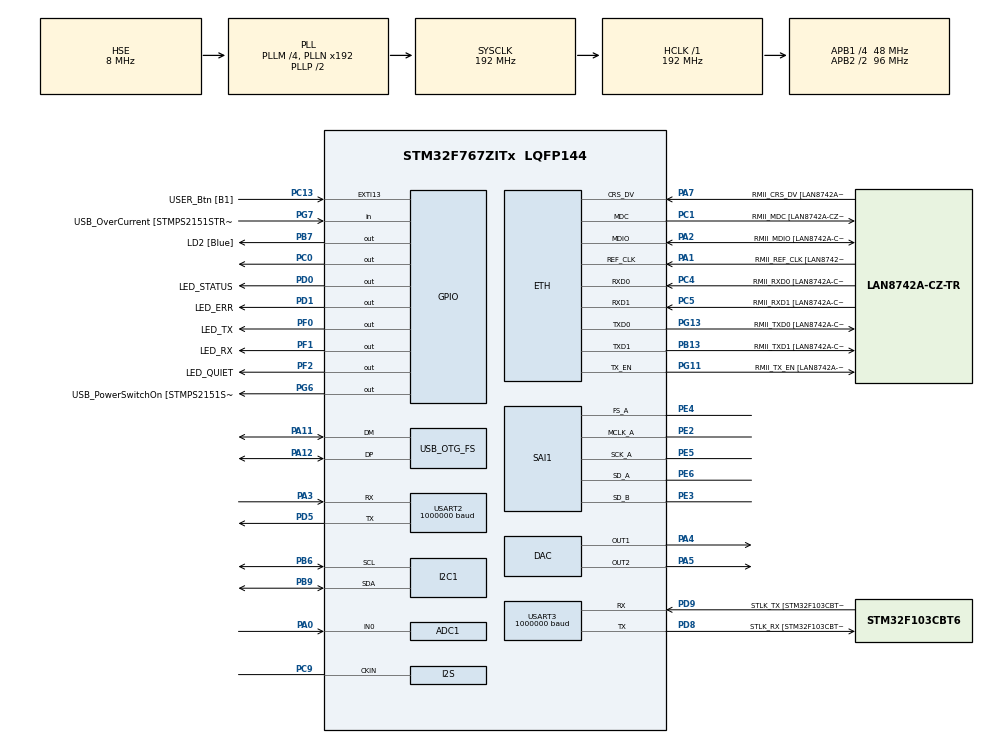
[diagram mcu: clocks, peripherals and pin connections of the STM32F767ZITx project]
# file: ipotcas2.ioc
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ADC1.Channel-0\#ChannelRegularConversion=ADC_CHANNEL_0
ADC1.ExternalTrigConv=ADC_EXTERNALTRIGCONV_T2_TRGO
ADC1.NbrOfConversionFlag=1
ADC1.Rank-0\#ChannelRegularConversion=1
ADC1.SamplingTime-0\#ChannelRegularConversion=ADC_SAMPLETIME_3CYCLES
ADC1.master=1
CORTEX_M7.ART_ACCELERATOR_ENABLE=1
CORTEX_M7.CPU_DCache=Enabled
CORTEX_M7.CPU_ICache=Enabled
CORTEX_M7.PREFETCH_ENABLE=1
CORTEX_M7.default_mode_Activation=0
DAC.DAC_Trigger=DAC_TRIGGER_T4_TRGO
Dma.ADC1.1.Direction=DMA_PERIPH_TO_MEMORY
Dma.ADC1.1.FIFOMode=DMA_FIFOMODE_DISABLE
Dma.ADC1.1.Instance=DMA2_Stream0
Dma.ADC1.1.MemDataAlignment=DMA_MDATAALIGN_HALFWORD
Dma.ADC1.1.MemInc=DMA_MINC_ENABLE
Dma.ADC1.1.Mode=DMA_CIRCULAR
Dma.ADC1.1.PeriphDataAlignment=DMA_PDATAALIGN_HALFWORD
Dma.ADC1.1.PeriphInc=DMA_PINC_DISABLE
Dma.ADC1.1.Priority=DMA_PRIORITY_LOW
Dma.DAC1.2.Direction=DMA_MEMORY_TO_PERIPH
Dma.DAC1.2.FIFOMode=DMA_FIFOMODE_ENABLE
Dma.DAC1.2.FIFOThreshold=DMA_FIFO_THRESHOLD_FULL
Dma.DAC1.2.Instance=DMA1_Stream5
Dma.DAC1.2.MemBurst=DMA_MBURST_SINGLE
Dma.DAC1.2.MemDataAlignment=DMA_MDATAALIGN_HALFWORD
Dma.DAC1.2.MemInc=DMA_MINC_ENABLE
Dma.DAC1.2.Mode=DMA_CIRCULAR
Dma.DAC1.2.PeriphBurst=DMA_PBURST_SINGLE
Dma.DAC1.2.PeriphDataAlignment=DMA_PDATAALIGN_HALFWORD
Dma.DAC1.2.PeriphInc=DMA_PINC_DISABLE
Dma.DAC1.2.Priority=DMA_PRIORITY_LOW
Dma.Request0=USART2_TX
Dma.Request1=ADC1
Dma.Request2=DAC1
Dma.Request3=SAI1_A
Dma.Request4=USART3_RX
Dma.SAI1_A.3.Direction=DMA_MEMORY_TO_PERIPH
Dma.SAI1_A.3.FIFOMode=DMA_FIFOMODE_DISABLE
Dma.SAI1_A.3.Instance=DMA2_Stream1
Dma.SAI1_A.3.MemDataAlignment=DMA_MDATAALIGN_HALFWORD
Dma.SAI1_A.3.MemInc=DMA_MINC_ENABLE
Dma.SAI1_A.3.Mode=DMA_CIRCULAR
Dma.SAI1_A.3.PeriphDataAlignment=DMA_PDATAALIGN_HALFWORD
Dma.SAI1_A.3.PeriphInc=DMA_PINC_DISABLE
Dma.SAI1_A.3.Priority=DMA_PRIORITY_LOW
Dma.USART2_TX.0.Direction=DMA_MEMORY_TO_PERIPH
Dma.USART2_TX.0.FIFOMode=DMA_FIFOMODE_DISABLE
Dma.USART2_TX.0.Instance=DMA1_Stream6
Dma.USART2_TX.0.MemDataAlignment=DMA_MDATAALIGN_BYTE
Dma.USART2_TX.0.MemInc=DMA_MINC_ENABLE
Dma.USART2_TX.0.Mode=DMA_NORMAL
Dma.USART2_TX.0.PeriphDataAlignment=DMA_PDATAALIGN_BYTE
Dma.USART2_TX.0.PeriphInc=DMA_PINC_DISABLE
Dma.USART2_TX.0.Priority=DMA_PRIORITY_LOW
Dma.USART3_RX.4.Direction=DMA_PERIPH_TO_MEMORY
Dma.USART3_RX.4.FIFOMode=DMA_FIFOMODE_DISABLE
Dma.USART3_RX.4.Instance=DMA1_Stream1
Dma.USART3_RX.4.MemDataAlignment=DMA_MDATAALIGN_BYTE
Dma.USART3_RX.4.MemInc=DMA_MINC_ENABLE
Dma.USART3_RX.4.Mode=DMA_CIRCULAR
Dma.USART3_RX.4.PeriphDataAlignment=DMA_PDATAALIGN_BYTE
Dma.USART3_RX.4.PeriphInc=DMA_PINC_DISABLE
Dma.USART3_RX.4.Priority=DMA_PRIORITY_LOW
ETH.MediaInterface=HAL_ETH_RMII_MODE
I2C1.Timing=0x20303E5D
Mcu.Family=STM32F7
Mcu.Name=STM32F767ZITx
Mcu.Package=LQFP144
NVIC.ADC_IRQn=true\:0\:0\:false\:false\:true\:true\:true\:true
NVIC.DMA1_Stream1_IRQn=true\:0\:0\:false\:false\:true\:false\:true\:true
NVIC.DMA1_Stream5_IRQn=true\:0\:0\:false\:false\:true\:false\:true\:true
NVIC.DMA1_Stream6_IRQn=true\:0\:0\:false\:false\:true\:false\:true\:true
NVIC.DMA2_Stream0_IRQn=true\:0\:0\:false\:false\:true\:false\:true\:true
NVIC.DMA2_Stream1_IRQn=true\:0\:0\:false\:false\:true\:false\:true\:true
NVIC.ETH_IRQn=true\:0\:0\:false\:false\:true\:true\:true\:true
NVIC.OTG_FS_IRQn=true\:0\:0\:false\:false\:true\:true\:true\:true
NVIC.PriorityGroup=NVIC_PRIORITYGROUP_4
NVIC.SAI1_IRQn=true\:0\:0\:false\:false\:true\:true\:true\:true
NVIC.TIM3_IRQn=true\:0\:0\:false\:false\:true\:true\:true\:true
NVIC.USART2_IRQn=true\:0\:0\:false\:false\:true\:true\:true\:true
NVIC.USART3_IRQn=true\:0\:0\:false\:false\:true\:true\:true\:true
PA0/WKUP.Signal=ADCx_IN0
PA1.GPIO_Label=RMII_REF_CLK [LAN8742A-CZ-TR_REFCLK0]
PA1.Mode=RMII
PA1.Signal=ETH_REF_CLK
PA10.GPIO_Label=USB_ID
PA10.Signal=USB_OTG_FS_ID
PA11.GPIO_Mode=GPIO_MODE_AF_PP
PA11.GPIO_PuPd=GPIO_NOPULL
PA11.GPIO_Speed=GPIO_SPEED_FREQ_VERY_HIGH
PA11.Mode=Device_Only
PA11.Signal=USB_OTG_FS_DM
PA12.GPIO_Mode=GPIO_MODE_AF_PP
PA12.GPIO_PuPd=GPIO_NOPULL
PA12.GPIO_Speed=GPIO_SPEED_FREQ_VERY_HIGH
PA12.Mode=Device_Only
PA12.Signal=USB_OTG_FS_DP
PA13.GPIO_Label=TMS
PA13.Mode=Serial_Wire
PA13.Signal=SYS_JTMS-SWDIO
PA14.GPIO_Label=TCK
PA14.Mode=Serial_Wire
PA14.Signal=SYS_JTCK-SWCLK
PA2.GPIO_Label=RMII_MDIO [LAN8742A-CZ-TR_MDIO]
PA2.Mode=RMII
PA2.Signal=ETH_MDIO
PA3.Mode=Asynchronous
PA3.Signal=USART2_RX
PA4.Signal=COMP_DAC1_group
PA5.Signal=COMP_DAC2_group
PA7.GPIO_Label=RMII_CRS_DV [LAN8742A-CZ-TR_CRS_DV]
PA7.Mode=RMII
PA7.Signal=ETH_CRS_DV
PA8.GPIO_Label=USB_SOF [TP1]
PA8.Signal=USB_OTG_FS_SOF
PA9.GPIO_Label=USB_VBUS
PA9.Signal=USB_OTG_FS_VBUS
PB13.GPIO_Label=RMII_TXD1 [LAN8742A-CZ-TR_TXD1]
PB13.Mode=RMII
PB13.Signal=ETH_TXD1
PB3.GPIO_Label=SWO
PB3.Signal=SYS_JTDO-SWO
PB6.Mode=I2C
PB6.Signal=I2C1_SCL
PB7.GPIO_Label=LD2 [Blue]
PB7.Signal=GPIO_Output
PB9.Mode=I2C
PB9.Signal=I2C1_SDA
PC0.Signal=GPIO_Output
PC1.GPIO_Label=RMII_MDC [LAN8742A-CZ-TR_MDC]
PC1.Mode=RMII
PC1.Signal=ETH_MDC
PC13.GPIO_Label=USER_Btn [B1]
PC13.Signal=GPXTI13
PC14/OSC32_IN.Mode=LSE-External-Oscillator
PC14/OSC32_IN.Signal=RCC_OSC32_IN
PC15/OSC32_OUT.Mode=LSE-External-Oscillator
PC15/OSC32_OUT.Signal=RCC_OSC32_OUT
PC4.GPIO_Label=RMII_RXD0 [LAN8742A-CZ-TR_RXD0]
PC4.Mode=RMII
PC4.Signal=ETH_RXD0
PC5.GPIO_Label=RMII_RXD1 [LAN8742A-CZ-TR_RXD1]
PC5.Mode=RMII
PC5.Signal=ETH_RXD1
PC9.Mode=Audio_ClockIn
PC9.Signal=I2S_CKIN
PD0.GPIO_Label=LED_STATUS
PD0.Signal=GPIO_Output
PD1.GPIO_Label=LED_ERR
PD1.Signal=GPIO_Output
PD5.Mode=Asynchronous
PD5.Signal=USART2_TX
PD8.GPIO_Label=STLK_RX [STM32F103CBT6_PA3]
PD8.Mode=Asynchronous
PD8.Signal=USART3_TX
PD9.GPIO_Label=STLK_TX [STM32F103CBT6_PA2]
PD9.Mode=Asynchronous
PD9.Signal=USART3_RX
PE2.Mode=SAI_A_MasterWithClock
PE2.Signal=SAI1_MCLK_A
PE3.Mode=SAI_B_SyncSlave
PE3.Signal=SAI1_SD_B
PE4.Mode=SAI_A_MasterWithClock
PE4.Signal=SAI1_FS_A
PE5.Mode=SAI_A_MasterWithClock
PE5.Signal=SAI1_SCK_A
PE6.Mode=SAI_A_MasterWithClock
PE6.Signal=SAI1_SD_A
PF0.GPIO_Label=LED_TX
PF0.Signal=GPIO_Output
PF1.GPIO_Label=LED_RX
PF1.Signal=GPIO_Output
PF2.GPIO_Label=LED_QUIET
PF2.Signal=GPIO_Output
PG11.GPIO_Label=RMII_TX_EN [LAN8742A-CZ-TR_TXEN]
PG11.Mode=RMII
PG11.Signal=ETH_TX_EN
PG13.GPIO_Label=RMII_TXD0 [LAN8742A-CZ-TR_TXD0]
PG13.Mode=RMII
PG13.Signal=ETH_TXD0
PG6.GPIO_Label=USB_PowerSwitchOn [STMPS2151STR_EN]
PG6.Signal=GPIO_Output
PG7.GPIO_Label=USB_OverCurrent [STMPS2151STR_FAULT]
PG7.Signal=GPIO_Input
PH0/OSC_IN.GPIO_Label=MCO [STM32F103CBT6_PA8]
PH0/OSC_IN.Mode=HSE-External-Clock-Source
PH0/OSC_IN.Signal=RCC_OSC_IN
PH1/OSC_OUT.Mode=HSE-External-Clock-Source
PH1/OSC_OUT.Signal=RCC_OSC_OUT
ProjectManager.HeapSize=0x2000
ProjectManager.StackSize=0x400
ProjectManager.TargetToolchain=CMake
RCC.48MHZClocksFreq_Value=24000000
RCC.AHBFreq_Value=192000000
RCC.APB1CLKDivider=RCC_HCLK_DIV4
RCC.APB1Freq_Value=48000000
RCC.APB1TimFreq_Value=96000000
RCC.APB2CLKDivider=RCC_HCLK_DIV2
RCC.APB2Freq_Value=96000000
RCC.APB2TimFreq_Value=192000000
RCC.CortexFreq_Value=192000000
RCC.HCLKFreq_Value=192000000
RCC.HSE_VALUE=8000000
RCC.HSI_VALUE=16000000
RCC.PLLM=4
RCC.PLLMUL=RCC_PLL_MUL9
RCC.PLLQ=8
RCC.PLLSAIQ=6
RCC.PRESCALERUSB=RCC_USBCLKSOURCE_PLL_DIV1_5
RCC.SAI1CLockSelection=RCC_SAI1CLKSOURCE_PIN
RCC.SYSCLKFreq_VALUE=192000000
RCC.SYSCLKSource=RCC_SYSCLKSOURCE_PLLCLK
RCC.SYSCLKSourceVirtual=RCC_SYSCLKSOURCE_PLLCLK
RCC.USBFreq_Value=48000000
RCC.VCOOutputFreq_Value=384000000
SAI1.AudioFrequency-SAI_A_MasterWithClock=SAI_AUDIO_FREQUENCY_48K
SAI1.ErrorAudioFreq-SAI_A_MasterWithClock=0.0 %
SAI1.InitProtocol-SAI_A_MasterWithClock=Enable
SAI1.InitProtocol-SAI_B_SyncSlave=Enable
SAI1.Instance-SAI_A_MasterWithClock=SAI$Index_Block_A
SAI1.Instance-SAI_B_SyncSlave=SAI$Index_Block_B
SAI1.MClockEnable-SAI_A_MasterWithClock=SAI_MASTERCLOCK_ENABLE
SAI1.RealAudioFreq-SAI_A_MasterWithClock=48.0 KHz
SAI1.VirtualMode-SAI_A_MasterWithClock=VM_MASTER
SAI1.VirtualMode-SAI_B_SyncSlave=VM_SLAVE
SAI1.VirtualProtocol-SAI_A_BASIC=VM_BASIC_PROTOCOL
SAI1.VirtualProtocol-SAI_B_BASIC=VM_BASIC_PROTOCOL
SH.ADCx_IN0.0=ADC1_IN0,IN0
SH.COMP_DAC1_group.0=DAC_OUT1,DAC_OUT1
SH.COMP_DAC2_group.0=DAC_OUT2,DAC_OUT2
TIM2.Channel-PWM\ Generation1\ No\ Output=TIM_CHANNEL_1
TIM2.Period=2999
TIM2.TIM_MasterOutputTrigger=TIM_TRGO_UPDATE
TIM3.Period=65535
TIM3.Prescaler=95
TIM4.Period=959
TIM4.TIM_MasterOutputTrigger=TIM_TRGO_UPDATE
USART2.BaudRate=1000000
USART2.VirtualMode-Asynchronous=VM_ASYNC
USART3.BaudRate=1000000
USART3.VirtualMode-Asynchronous=VM_ASYNC
USB_OTG_FS.VirtualMode=Device_Only
VP_SAI1_VP_$IpInstance_SAIA_SAI_BASIC.Mode=SAI_A_BASIC
VP_SAI1_VP_$IpInstance_SAIB_SAI_BASIC.Mode=SAI_B_BASIC
VP_TIM2_VS_ClockSourceINT.Mode=Internal
VP_TIM2_VS_no_output1.Mode=PWM Generation1 No Output
VP_TIM3_VS_ClockSourceINT.Mode=Internal
VP_TIM4_VS_ClockSourceINT.Mode=Internal
board=NUCLEO-F767ZI

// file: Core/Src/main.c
/* USER CODE BEGIN Header */
/**
  ******************************************************************************
  * @file           : main.c
  * @brief          : Main program body
  ******************************************************************************
  * @attention
  *
  * Copyright (c) 2025 STMicroelectronics.
  * All rights reserved.
  *
  * This software is licensed under terms that can be found in the LICENSE file
  * in the root directory of this software component.
  * If no LICENSE file comes with this software, it is provided AS-IS.
  *
  ******************************************************************************
  */
/* USER CODE END Header */
#include "main.h"
#include "stm32f7xx_hal_uart.h"
#include "string.h"

/* USER CODE BEGIN Includes */
#include "tusb.h"
#include "transmit.h"
#include "receive.h"
#include "modulation.h"
#include "codec.h"
#include "ethernet.h"
#include <stdio.h>
/* USER CODE END Includes */

/* USER CODE BEGIN PD */

const char TEST_DATA[] =
    "Somebody once told me the world is gonna roll me / "
    "I ain't the sharpest tool in the shed / ";

#if 0
const char TEST_DATA[] =
    "Somebody once told me the world is gonna roll me / "
    "I ain't the sharpest tool in the shed / "
    "She was looking kind of dumb with her finger and her thumb / "
    "In the shape of an \"L\" on her forehead / "
    "Well, the years start comin' and they don't stop comin' / "
    "Fed to the rules and I hit the ground runnin' / "
    "Didn't make sense not to live for fun / "
    "Your brain gets smart but your head gets dumb / "
    "So much to do, so much to see / "
    "So what's wrong with taking the backstreets? / "
    "You'll never know if you don't go / "
    "You'll never shine if you don't glow / "
    "Hey now, you're an all star / "
    "Get your game on, go play / "
    "Hey now, you're a rock star / "
    "Get your show on, get paid / "
    "(And all that glitters is gold) / "
    "Only shootin' stars break the mold / "
    "It's a cool place, and they say it gets colder / "
    "You're bundled up now, wait 'til you get older / "
    "But the meteor men beg to differ / "
    "Judging by the hole in the satellite picture / "
    "The ice we skate is gettin' pretty thin / "
    "The waters gettin' warm so you might as well swim / "
    "My world's on fire, how 'bout yours? / "
    "That's the way I like it and I'll never get bored / "
    "Hey now, you're an all star / "
    "Get your game on, go play / "
    "Hey now, you're a rock star / "
    "Get your show on, get paid / "
    "(All that glitters is gold) / "
    "Only shootin' stars break the mold / "
    "Go for the moon / "
    "G-g-g-go for the moon / "
    "Go for the moon / "
    "Go-go-go for the moon / "
    "Hey now, you're an all star / "
    "Get your game on, go play / "
    "Hey now, you're a rock star / "
    "Get your show on, get paid / "
    "(All that glitters is gold)";
  #endif

/* USER CODE END PD */

#if defined ( __ICCARM__ ) /*!< IAR Compiler */
#pragma location=0x2007c000
ETH_DMADescTypeDef  DMARxDscrTab[ETH_RX_DESC_CNT]; /* Ethernet Rx DMA Descriptors */
#pragma location=0x2007c0a0
ETH_DMADescTypeDef  DMATxDscrTab[ETH_TX_DESC_CNT]; /* Ethernet Tx DMA Descriptors */

#elif defined ( __CC_ARM )  /* MDK ARM Compiler */

__attribute__((at(0x2007c000))) ETH_DMADescTypeDef  DMARxDscrTab[ETH_RX_DESC_CNT]; /* Ethernet Rx DMA Descriptors */
__attribute__((at(0x2007c0a0))) ETH_DMADescTypeDef  DMATxDscrTab[ETH_TX_DESC_CNT]; /* Ethernet Tx DMA Descriptors */

#elif defined ( __GNUC__ ) /* GNU Compiler */

ETH_DMADescTypeDef DMARxDscrTab[ETH_RX_DESC_CNT] __attribute__((section(".RxDecripSection"))); /* Ethernet Rx DMA Descriptors */
ETH_DMADescTypeDef DMATxDscrTab[ETH_TX_DESC_CNT] __attribute__((section(".TxDecripSection")));   /* Ethernet Tx DMA Descriptors */
#endif

ETH_TxPacketConfig TxConfig;

ADC_HandleTypeDef hadc1;
DMA_HandleTypeDef hdma_adc1;

DAC_HandleTypeDef hdac;
DMA_HandleTypeDef hdma_dac1;

ETH_HandleTypeDef heth;

I2C_HandleTypeDef hi2c1;

SAI_HandleTypeDef hsai_BlockA1;
SAI_HandleTypeDef hsai_BlockB1;
DMA_HandleTypeDef hdma_sai1_a;

TIM_HandleTypeDef htim2;
TIM_HandleTypeDef htim3;
TIM_HandleTypeDef htim4;

UART_HandleTypeDef huart2;
UART_HandleTypeDef huart3;
DMA_HandleTypeDef hdma_usart2_tx;
DMA_HandleTypeDef hdma_usart3_rx;

PCD_HandleTypeDef hpcd_USB_OTG_FS;

/* USER CODE BEGIN PV */

uint8_t raw_uart_buf[288];

/* USER CODE END PV */

void SystemClock_Config(void);
static void MX_GPIO_Init(void);
static void MX_DMA_Init(void);
static void MX_ETH_Init(void);
static void MX_USART3_UART_Init(void);
static void MX_ADC1_Init(void);
static void MX_DAC_Init(void);
static void MX_TIM2_Init(void);
static void MX_USB_OTG_FS_PCD_Init(void);
static void MX_TIM3_Init(void);
static void MX_USART2_UART_Init(void);
static void MX_TIM4_Init(void);
static void MX_I2C1_Init(void);
static void MX_SAI1_Init(void);

/* USER CODE BEGIN 0 */
int _write(int fd, const char *ptr, int len) {
  HAL_StatusTypeDef hstatus;
  if (fd == 1 || fd == 2) {
    hstatus = HAL_UART_Transmit(&huart3, (const uint8_t *)ptr, len, HAL_MAX_DELAY);
    if (hstatus == HAL_OK) {
      return len;
    } else {
      return -1;
    }
  }
  return -1;
}

int hamming_corrections = 0;

uint16_t adc_val;

/* USER CODE END 0 */

int main(void)
{

  /* Enable the CPU Cache */

  /* Enable I-Cache---------------------------------------------------------*/
  SCB_EnableICache();

  /* Enable D-Cache---------------------------------------------------------*/
  SCB_EnableDCache();

  /* MCU Configuration--------------------------------------------------------*/

  /* Reset of all peripherals, Initializes the Flash interface and the Systick. */
  HAL_Init();

  /* Configure the system clock */
  SystemClock_Config();

  /* Initialize all configured peripherals */
  MX_GPIO_Init();
  MX_DMA_Init();
  MX_ETH_Init();
  MX_USART3_UART_Init();
  MX_ADC1_Init();
  MX_DAC_Init();
  MX_TIM2_Init();
  MX_USB_OTG_FS_PCD_Init();
  MX_TIM3_Init();
  MX_USART2_UART_Init();
  MX_TIM4_Init();
  MX_I2C1_Init();
  MX_SAI1_Init();
  /* USER CODE BEGIN 2 */

  // FIXME: Can't configure this in stm32cubemx for some reason?
  // Refilling the tx buffer is a very long process but not very latency-sensitive
  // so it gets a lower priority to allow the ADC interrupt to preempt it
  HAL_NVIC_SetPriority(DMA1_Stream5_IRQn, 2, 0);
  HAL_NVIC_SetPriority(DMA2_Stream1_IRQn, 2, 0);
  /* USER CODE END 2 */

  /* Infinite loop */
  /* USER CODE BEGIN WHILE */
  /*if(HAL_ADCEx_Calibration_Start(&hadc1, ADC_CALIB_OFFSET, ADC_SINGLE_ENDED) != HAL_OK) {
    Error_Handler();
  }*/

  printf("Hello, world!\n");

  codec_init();

  if (HAL_ADC_Start(&hadc1) != HAL_OK) {
    Error_Handler();
  }

  if (HAL_TIM_PWM_Start(&htim2, TIM_CHANNEL_1) != HAL_OK) {
    Error_Handler();
  }

  if (HAL_TIM_Base_Start_IT(&htim3) != HAL_OK) {
    Error_Handler();
  }

  if (HAL_TIM_Base_Start(&htim4) != HAL_OK) {
    Error_Handler();
  }

  tusb_init();

  int tx_ok = transmit_init(&hdac);
  if (tx_ok != HAL_OK) {
    printf("transmit init failed %d\n", tx_ok);
    Error_Handler();
  }

  extern uint64_t micros(void);

  // here so that it can actually print things
  for (int i = 0; i < 2; ++i) {
    if (ethernet_init()) {
      printf("ETHERNET OK\n");
      break;
    }
    printf("ETHERNET FAILED\n");
  }

  printf("filt %lx\n", heth.Instance->MACFFR);
  printf("eth %lx\n", heth.Instance->DMASR);

  // turn off all filtering (!!)
  //heth.Instance->MACFFR |= (1 << 31);
  // turn on promiscuous mode (no MAC addr filter)
  heth.Instance->MACFFR |= ETH_MACFFR_PM;

  //printf("filt after %lx\n", heth.Instance->MACFFR);

  #if 0
  uint32_t last = -1;
  uint32_t last2 = -1;
  uint32_t last3 = -1;
  while (1) {
    uint32_t num_rx = heth.Instance->MMCRGUFCR;
    if (num_rx != last) {
      printf("Num received %lu\n", num_rx);
      last = num_rx;
    }
    uint32_t dbg = heth.Instance->MACDBGR;
    if (dbg != last2) {
      printf("DBG: %lu\n", dbg);
      last2 = dbg;
    }
    uint32_t t = micros() / 1000000;
    if (t != last3) {
      last3 = t;
      printf("hewo %ld\n", t);
      ethernet_send_packet();
    }
  }
  #endif

  int rx_ok = receive_init();
  if (rx_ok != HAL_OK) {
    printf("receive init failed %d\n", rx_ok);
    Error_Handler();
  }

#if TX_RAW_STREAM
  int uart_ok = HAL_UART_Receive_DMA(&huart3, raw_uart_buf, sizeof(raw_uart_buf));
  if (uart_ok != HAL_OK) {
    printf("UART rx start failed %d\n", uart_ok);
    Error_Handler();
  }
#endif

  int s = 0;
  int calls = 0;
  int st = micros() / 1000000;
  int total_bytes = 0;
  uint64_t count_start = 0;
  while (1)
  {
    /* USER CODE END WHILE */

    /* USER CODE BEGIN 3 */
    int s2 = micros() / 1000000;
    /*if (!ethernet_ok && s != s2) {
      s = s2;
      ethernet_ok = ethernet_init();
      // turn off all filtering (!!)
      heth.Instance->MACFFR |= (1 << 31);
      printf("hewo\n");
    }*/

#if TX_RAW_STREAM
    if (need_new_raw_samples()) {
      printf("S\n");
    }
#endif

    if (s != s2) {
      s = s2;
      if (s2 != st) { printf("hewo %d %d %d %d\n", calls / (s2 - st), heth.Instance->MMCRGUFCR, hamming_corrections, huart3.RxState); }
    }

#if TX_RAW_STREAM
    tud_task();

#if 0
    if (tud_cdc_available() >= 64) {
      tud_cdc_read(sample_buf+sample_buf_idx, 64);
      sample_buf_idx += 64;
      total_bytes += 64;
    }

    if (sample_buf_idx == 384) {
      submit_raw_stream((int16_t *)sample_buf);
      sample_buf_idx = 0;
    }
#else

#endif
#else
    tud_task();

    static bool prev_btn_state = false;
    bool btn_state = HAL_GPIO_ReadPin(USER_Btn_GPIO_Port, USER_Btn_Pin);
    if (btn_state && !prev_btn_state && transmit_ready(sizeof(TEST_DATA))) {
      transmit_send(NULL, TEST_DATA, sizeof(TEST_DATA));
    }

    transmit_task(&hdac);
#endif

    receive_task();
    //ethernet_task();

    ++calls;
  }
  /* USER CODE END 3 */
}

void SystemClock_Config(void)
{
  RCC_OscInitTypeDef RCC_OscInitStruct = {0};
  RCC_ClkInitTypeDef RCC_ClkInitStruct = {0};

  /** Configure LSE Drive Capability
  */
  HAL_PWR_EnableBkUpAccess();

  /** Configure the main internal regulator output voltage
  */
  __HAL_RCC_PWR_CLK_ENABLE();
  __HAL_PWR_VOLTAGESCALING_CONFIG(PWR_REGULATOR_VOLTAGE_SCALE1);

  /** Initializes the RCC Oscillators according to the specified parameters
  * in the RCC_OscInitTypeDef structure.
  */
  RCC_OscInitStruct.OscillatorType = RCC_OSCILLATORTYPE_HSE;
  RCC_OscInitStruct.HSEState = RCC_HSE_BYPASS;
  RCC_OscInitStruct.PLL.PLLState = RCC_PLL_ON;
  RCC_OscInitStruct.PLL.PLLSource = RCC_PLLSOURCE_HSE;
  RCC_OscInitStruct.PLL.PLLM = 4;
  RCC_OscInitStruct.PLL.PLLN = 192;
  RCC_OscInitStruct.PLL.PLLP = RCC_PLLP_DIV2;
  RCC_OscInitStruct.PLL.PLLQ = 8;
  RCC_OscInitStruct.PLL.PLLR = 2;
  if (HAL_RCC_OscConfig(&RCC_OscInitStruct) != HAL_OK)
  {
    Error_Handler();
  }

  /** Activate the Over-Drive mode
  */
  if (HAL_PWREx_EnableOverDrive() != HAL_OK)
  {
    Error_Handler();
  }

  /** Initializes the CPU, AHB and APB buses clocks
  */
  RCC_ClkInitStruct.ClockType = RCC_CLOCKTYPE_HCLK|RCC_CLOCKTYPE_SYSCLK
                              |RCC_CLOCKTYPE_PCLK1|RCC_CLOCKTYPE_PCLK2;
  RCC_ClkInitStruct.SYSCLKSource = RCC_SYSCLKSOURCE_PLLCLK;
  RCC_ClkInitStruct.AHBCLKDivider = RCC_SYSCLK_DIV1;
  RCC_ClkInitStruct.APB1CLKDivider = RCC_HCLK_DIV4;
  RCC_ClkInitStruct.APB2CLKDivider = RCC_HCLK_DIV2;

  if (HAL_RCC_ClockConfig(&RCC_ClkInitStruct, FLASH_LATENCY_6) != HAL_OK)
  {
    Error_Handler();
  }
}

static void MX_ADC1_Init(void)
{

  ADC_ChannelConfTypeDef sConfig = {0};

  /** Configure the global features of the ADC (Clock, Resolution, Data Alignment and number of conversion)
  */
  hadc1.Instance = ADC1;
  hadc1.Init.ClockPrescaler = ADC_CLOCK_SYNC_PCLK_DIV4;
  hadc1.Init.Resolution = ADC_RESOLUTION_12B;
  hadc1.Init.ScanConvMode = ADC_SCAN_DISABLE;
  hadc1.Init.ContinuousConvMode = DISABLE;
  hadc1.Init.DiscontinuousConvMode = DISABLE;
  hadc1.Init.ExternalTrigConvEdge = ADC_EXTERNALTRIGCONVEDGE_RISING;
  hadc1.Init.ExternalTrigConv = ADC_EXTERNALTRIGCONV_T2_TRGO;
  hadc1.Init.DataAlign = ADC_DATAALIGN_RIGHT;
  hadc1.Init.NbrOfConversion = 1;
  hadc1.Init.DMAContinuousRequests = DISABLE;
  hadc1.Init.EOCSelection = ADC_EOC_SINGLE_CONV;
  if (HAL_ADC_Init(&hadc1) != HAL_OK)
  {
    Error_Handler();
  }

  /** Configure for the selected ADC regular channel its corresponding rank in the sequencer and its sample time.
  */
  sConfig.Channel = ADC_CHANNEL_0;
  sConfig.Rank = ADC_REGULAR_RANK_1;
  sConfig.SamplingTime = ADC_SAMPLETIME_3CYCLES;
  if (HAL_ADC_ConfigChannel(&hadc1, &sConfig) != HAL_OK)
  {
    Error_Handler();
  }

}

static void MX_DAC_Init(void)
{

  DAC_ChannelConfTypeDef sConfig = {0};

  /** DAC Initialization
  */
  hdac.Instance = DAC;
  if (HAL_DAC_Init(&hdac) != HAL_OK)
  {
    Error_Handler();
  }

  /** DAC channel OUT1 config
  */
  sConfig.DAC_Trigger = DAC_TRIGGER_T4_TRGO;
  sConfig.DAC_OutputBuffer = DAC_OUTPUTBUFFER_ENABLE;
  if (HAL_DAC_ConfigChannel(&hdac, &sConfig, DAC_CHANNEL_1) != HAL_OK)
  {
    Error_Handler();
  }

  /** DAC channel OUT2 config
  */
  sConfig.DAC_Trigger = DAC_TRIGGER_NONE;
  if (HAL_DAC_ConfigChannel(&hdac, &sConfig, DAC_CHANNEL_2) != HAL_OK)
  {
    Error_Handler();
  }
  /* USER CODE BEGIN DAC_Init 2 */
  HAL_DAC_Start(&hdac, DAC_CHANNEL_1);
  HAL_DAC_Start(&hdac, DAC_CHANNEL_2);

  /* USER CODE END DAC_Init 2 */

}

static void MX_ETH_Init(void)
{

   static uint8_t MACAddr[6];

  heth.Instance = ETH;
  MACAddr[0] = 0x00;
  MACAddr[1] = 0x80;
  MACAddr[2] = 0xE1;
  MACAddr[3] = 0x00;
  MACAddr[4] = 0x00;
  MACAddr[5] = 0x00;
  heth.Init.MACAddr = &MACAddr[0];
  heth.Init.MediaInterface = HAL_ETH_RMII_MODE;
  heth.Init.TxDesc = DMATxDscrTab;
  heth.Init.RxDesc = DMARxDscrTab;
  heth.Init.RxBuffLen = 1524;

  if (HAL_ETH_Init(&heth) != HAL_OK)
  {
    Error_Handler();
  }

  memset(&TxConfig, 0 , sizeof(ETH_TxPacketConfig));
  TxConfig.Attributes = ETH_TX_PACKETS_FEATURES_CSUM | ETH_TX_PACKETS_FEATURES_CRCPAD;
  TxConfig.ChecksumCtrl = ETH_CHECKSUM_IPHDR_PAYLOAD_INSERT_PHDR_CALC;
  TxConfig.CRCPadCtrl = ETH_CRC_PAD_INSERT;
  /* USER CODE BEGIN ETH_Init 2 */
  //TxConfig.ChecksumCtrl = ETH_CHECKSUM_IPHDR_PAYLOAD_INSERT_PHDR_CALC;
  // hardware checksums don't work and break all network traffic??
  // (as per https://github.com/zephyrproject-rtos/zephyr/issues/57629 )
  TxConfig.ChecksumCtrl = ETH_CHECKSUM_DISABLE;
  /* USER CODE END ETH_Init 2 */

}

static void MX_I2C1_Init(void)
{

  hi2c1.Instance = I2C1;
  hi2c1.Init.Timing = 0x20303E5D;
  hi2c1.Init.OwnAddress1 = 0;
  hi2c1.Init.AddressingMode = I2C_ADDRESSINGMODE_7BIT;
  hi2c1.Init.DualAddressMode = I2C_DUALADDRESS_DISABLE;
  hi2c1.Init.OwnAddress2 = 0;
  hi2c1.Init.OwnAddress2Masks = I2C_OA2_NOMASK;
  hi2c1.Init.GeneralCallMode = I2C_GENERALCALL_DISABLE;
  hi2c1.Init.NoStretchMode = I2C_NOSTRETCH_DISABLE;
  if (HAL_I2C_Init(&hi2c1) != HAL_OK)
  {
    Error_Handler();
  }

  /** Configure Analogue filter
  */
  if (HAL_I2CEx_ConfigAnalogFilter(&hi2c1, I2C_ANALOGFILTER_ENABLE) != HAL_OK)
  {
    Error_Handler();
  }

  /** Configure Digital filter
  */
  if (HAL_I2CEx_ConfigDigitalFilter(&hi2c1, 0) != HAL_OK)
  {
    Error_Handler();
  }

}

static void MX_SAI1_Init(void)
{

  hsai_BlockA1.Instance = SAI1_Block_A;
  hsai_BlockA1.Init.AudioMode = SAI_MODEMASTER_TX;
  hsai_BlockA1.Init.Synchro = SAI_ASYNCHRONOUS;
  hsai_BlockA1.Init.OutputDrive = SAI_OUTPUTDRIVE_DISABLE;
  hsai_BlockA1.Init.NoDivider = SAI_MASTERDIVIDER_ENABLE;
  hsai_BlockA1.Init.FIFOThreshold = SAI_FIFOTHRESHOLD_EMPTY;
  hsai_BlockA1.Init.AudioFrequency = SAI_AUDIO_FREQUENCY_48K;
  hsai_BlockA1.Init.SynchroExt = SAI_SYNCEXT_DISABLE;
  hsai_BlockA1.Init.MonoStereoMode = SAI_STEREOMODE;
  hsai_BlockA1.Init.CompandingMode = SAI_NOCOMPANDING;
  hsai_BlockA1.Init.TriState = SAI_OUTPUT_NOTRELEASED;
  if (HAL_SAI_InitProtocol(&hsai_BlockA1, SAI_I2S_STANDARD, SAI_PROTOCOL_DATASIZE_16BIT, 2) != HAL_OK)
  {
    Error_Handler();
  }
  hsai_BlockB1.Instance = SAI1_Block_B;
  hsai_BlockB1.Init.AudioMode = SAI_MODESLAVE_RX;
  hsai_BlockB1.Init.Synchro = SAI_SYNCHRONOUS;
  hsai_BlockB1.Init.OutputDrive = SAI_OUTPUTDRIVE_DISABLE;
  hsai_BlockB1.Init.FIFOThreshold = SAI_FIFOTHRESHOLD_EMPTY;
  hsai_BlockB1.Init.SynchroExt = SAI_SYNCEXT_DISABLE;
  hsai_BlockB1.Init.MonoStereoMode = SAI_STEREOMODE;
  hsai_BlockB1.Init.CompandingMode = SAI_NOCOMPANDING;
  hsai_BlockB1.Init.TriState = SAI_OUTPUT_NOTRELEASED;
  if (HAL_SAI_InitProtocol(&hsai_BlockB1, SAI_I2S_STANDARD, SAI_PROTOCOL_DATASIZE_16BIT, 2) != HAL_OK)
  {
    Error_Handler();
  }

}

static void MX_TIM2_Init(void)
{

  TIM_ClockConfigTypeDef sClockSourceConfig = {0};
  TIM_MasterConfigTypeDef sMasterConfig = {0};
  TIM_OC_InitTypeDef sConfigOC = {0};

  htim2.Instance = TIM2;
  htim2.Init.Prescaler = 0;
  htim2.Init.CounterMode = TIM_COUNTERMODE_UP;
  htim2.Init.Period = 2999;
  htim2.Init.ClockDivision = TIM_CLOCKDIVISION_DIV1;
  htim2.Init.AutoReloadPreload = TIM_AUTORELOAD_PRELOAD_DISABLE;
  if (HAL_TIM_Base_Init(&htim2) != HAL_OK)
  {
    Error_Handler();
  }
  sClockSourceConfig.ClockSource = TIM_CLOCKSOURCE_INTERNAL;
  if (HAL_TIM_ConfigClockSource(&htim2, &sClockSourceConfig) != HAL_OK)
  {
    Error_Handler();
  }
  if (HAL_TIM_PWM_Init(&htim2) != HAL_OK)
  {
    Error_Handler();
  }
  sMasterConfig.MasterOutputTrigger = TIM_TRGO_UPDATE;
  sMasterConfig.MasterSlaveMode = TIM_MASTERSLAVEMODE_DISABLE;
  if (HAL_TIMEx_MasterConfigSynchronization(&htim2, &sMasterConfig) != HAL_OK)
  {
    Error_Handler();
  }
  sConfigOC.OCMode = TIM_OCMODE_PWM1;
  sConfigOC.Pulse = 0;
  sConfigOC.OCPolarity = TIM_OCPOLARITY_HIGH;
  sConfigOC.OCFastMode = TIM_OCFAST_DISABLE;
  if (HAL_TIM_PWM_ConfigChannel(&htim2, &sConfigOC, TIM_CHANNEL_1) != HAL_OK)
  {
    Error_Handler();
  }

}

static void MX_TIM3_Init(void)
{

  TIM_ClockConfigTypeDef sClockSourceConfig = {0};
  TIM_MasterConfigTypeDef sMasterConfig = {0};

  htim3.Instance = TIM3;
  htim3.Init.Prescaler = 95;
  htim3.Init.CounterMode = TIM_COUNTERMODE_UP;
  htim3.Init.Period = 65535;
  htim3.Init.ClockDivision = TIM_CLOCKDIVISION_DIV1;
  htim3.Init.AutoReloadPreload = TIM_AUTORELOAD_PRELOAD_DISABLE;
  if (HAL_TIM_Base_Init(&htim3) != HAL_OK)
  {
    Error_Handler();
  }
  sClockSourceConfig.ClockSource = TIM_CLOCKSOURCE_INTERNAL;
  if (HAL_TIM_ConfigClockSource(&htim3, &sClockSourceConfig) != HAL_OK)
  {
    Error_Handler();
  }
  sMasterConfig.MasterOutputTrigger = TIM_TRGO_RESET;
  sMasterConfig.MasterSlaveMode = TIM_MASTERSLAVEMODE_DISABLE;
  if (HAL_TIMEx_MasterConfigSynchronization(&htim3, &sMasterConfig) != HAL_OK)
  {
    Error_Handler();
  }

}

static void MX_TIM4_Init(void)
{

  TIM_ClockConfigTypeDef sClockSourceConfig = {0};
  TIM_MasterConfigTypeDef sMasterConfig = {0};

  htim4.Instance = TIM4;
  htim4.Init.Prescaler = 0;
  htim4.Init.CounterMode = TIM_COUNTERMODE_UP;
  htim4.Init.Period = 959;
  htim4.Init.ClockDivision = TIM_CLOCKDIVISION_DIV1;
  htim4.Init.AutoReloadPreload = TIM_AUTORELOAD_PRELOAD_DISABLE;
  if (HAL_TIM_Base_Init(&htim4) != HAL_OK)
  {
    Error_Handler();
  }
  sClockSourceConfig.ClockSource = TIM_CLOCKSOURCE_INTERNAL;
  if (HAL_TIM_ConfigClockSource(&htim4, &sClockSourceConfig) != HAL_OK)
  {
    Error_Handler();
  }
  sMasterConfig.MasterOutputTrigger = TIM_TRGO_UPDATE;
  sMasterConfig.MasterSlaveMode = TIM_MASTERSLAVEMODE_DISABLE;
  if (HAL_TIMEx_MasterConfigSynchronization(&htim4, &sMasterConfig) != HAL_OK)
  {
    Error_Handler();
  }

}

static void MX_USART2_UART_Init(void)
{

  huart2.Instance = USART2;
  huart2.Init.BaudRate = 1000000;
  huart2.Init.WordLength = UART_WORDLENGTH_8B;
  huart2.Init.StopBits = UART_STOPBITS_1;
  huart2.Init.Parity = UART_PARITY_NONE;
  huart2.Init.Mode = UART_MODE_TX_RX;
  huart2.Init.HwFlowCtl = UART_HWCONTROL_NONE;
  huart2.Init.OverSampling = UART_OVERSAMPLING_16;
  huart2.Init.OneBitSampling = UART_ONE_BIT_SAMPLE_DISABLE;
  huart2.AdvancedInit.AdvFeatureInit = UART_ADVFEATURE_NO_INIT;
  if (HAL_UART_Init(&huart2) != HAL_OK)
  {
    Error_Handler();
  }

}

static void MX_USART3_UART_Init(void)
{

  huart3.Instance = USART3;
  huart3.Init.BaudRate = 1000000;
  huart3.Init.WordLength = UART_WORDLENGTH_8B;
  huart3.Init.StopBits = UART_STOPBITS_1;
  huart3.Init.Parity = UART_PARITY_NONE;
  huart3.Init.Mode = UART_MODE_TX_RX;
  huart3.Init.HwFlowCtl = UART_HWCONTROL_NONE;
  huart3.Init.OverSampling = UART_OVERSAMPLING_16;
  huart3.Init.OneBitSampling = UART_ONE_BIT_SAMPLE_DISABLE;
  huart3.AdvancedInit.AdvFeatureInit = UART_ADVFEATURE_NO_INIT;
  if (HAL_UART_Init(&huart3) != HAL_OK)
  {
    Error_Handler();
  }

}

static void MX_USB_OTG_FS_PCD_Init(void)
{

  hpcd_USB_OTG_FS.Instance = USB_OTG_FS;
  hpcd_USB_OTG_FS.Init.dev_endpoints = 6;
  hpcd_USB_OTG_FS.Init.speed = PCD_SPEED_FULL;
  hpcd_USB_OTG_FS.Init.dma_enable = DISABLE;
  hpcd_USB_OTG_FS.Init.phy_itface = PCD_PHY_EMBEDDED;
  hpcd_USB_OTG_FS.Init.Sof_enable = DISABLE;
  hpcd_USB_OTG_FS.Init.low_power_enable = DISABLE;
  hpcd_USB_OTG_FS.Init.lpm_enable = DISABLE;
  hpcd_USB_OTG_FS.Init.vbus_sensing_enable = DISABLE;
  hpcd_USB_OTG_FS.Init.use_dedicated_ep1 = DISABLE;
  if (HAL_PCD_Init(&hpcd_USB_OTG_FS) != HAL_OK)
  {
    Error_Handler();
  }

}

static void MX_DMA_Init(void)
{

  /* DMA controller clock enable */
  __HAL_RCC_DMA1_CLK_ENABLE();
  __HAL_RCC_DMA2_CLK_ENABLE();

  /* DMA interrupt init */
  /* DMA1_Stream1_IRQn interrupt configuration */
  HAL_NVIC_SetPriority(DMA1_Stream1_IRQn, 0, 0);
  HAL_NVIC_EnableIRQ(DMA1_Stream1_IRQn);
  /* DMA1_Stream5_IRQn interrupt configuration */
  HAL_NVIC_SetPriority(DMA1_Stream5_IRQn, 0, 0);
  HAL_NVIC_EnableIRQ(DMA1_Stream5_IRQn);
  /* DMA1_Stream6_IRQn interrupt configuration */
  HAL_NVIC_SetPriority(DMA1_Stream6_IRQn, 0, 0);
  HAL_NVIC_EnableIRQ(DMA1_Stream6_IRQn);
  /* DMA2_Stream0_IRQn interrupt configuration */
  HAL_NVIC_SetPriority(DMA2_Stream0_IRQn, 0, 0);
  HAL_NVIC_EnableIRQ(DMA2_Stream0_IRQn);
  /* DMA2_Stream1_IRQn interrupt configuration */
  HAL_NVIC_SetPriority(DMA2_Stream1_IRQn, 0, 0);
  HAL_NVIC_EnableIRQ(DMA2_Stream1_IRQn);

}

static void MX_GPIO_Init(void)
{
  GPIO_InitTypeDef GPIO_InitStruct = {0};

  /* GPIO Ports Clock Enable */
  __HAL_RCC_GPIOE_CLK_ENABLE();
  __HAL_RCC_GPIOC_CLK_ENABLE();
  __HAL_RCC_GPIOF_CLK_ENABLE();
  __HAL_RCC_GPIOH_CLK_ENABLE();
  __HAL_RCC_GPIOA_CLK_ENABLE();
  __HAL_RCC_GPIOB_CLK_ENABLE();
  __HAL_RCC_GPIOD_CLK_ENABLE();
  __HAL_RCC_GPIOG_CLK_ENABLE();

  /*Configure GPIO pin Output Level */
  HAL_GPIO_WritePin(GPIOF, LED_TX_Pin|LED_RX_Pin|LED_QUIET_Pin, GPIO_PIN_RESET);

  /*Configure GPIO pin Output Level */
  HAL_GPIO_WritePin(GPIOC, GPIO_PIN_0, GPIO_PIN_RESET);

  /*Configure GPIO pin Output Level */
  HAL_GPIO_WritePin(USB_PowerSwitchOn_GPIO_Port, USB_PowerSwitchOn_Pin, GPIO_PIN_RESET);

  /*Configure GPIO pin Output Level */
  HAL_GPIO_WritePin(GPIOD, LED_STATUS_Pin|LED_ERR_Pin, GPIO_PIN_RESET);

  /*Configure GPIO pin Output Level */
  HAL_GPIO_WritePin(LD2_GPIO_Port, LD2_Pin, GPIO_PIN_RESET);

  /*Configure GPIO pin : USER_Btn_Pin */
  GPIO_InitStruct.Pin = USER_Btn_Pin;
  GPIO_InitStruct.Mode = GPIO_MODE_IT_RISING;
  GPIO_InitStruct.Pull = GPIO_NOPULL;
  HAL_GPIO_Init(USER_Btn_GPIO_Port, &GPIO_InitStruct);

  /*Configure GPIO pins : LED_TX_Pin LED_RX_Pin LED_QUIET_Pin */
  GPIO_InitStruct.Pin = LED_TX_Pin|LED_RX_Pin|LED_QUIET_Pin;
  GPIO_InitStruct.Mode = GPIO_MODE_OUTPUT_PP;
  GPIO_InitStruct.Pull = GPIO_NOPULL;
  GPIO_InitStruct.Speed = GPIO_SPEED_FREQ_LOW;
  HAL_GPIO_Init(GPIOF, &GPIO_InitStruct);

  /*Configure GPIO pin : PC0 */
  GPIO_InitStruct.Pin = GPIO_PIN_0;
  GPIO_InitStruct.Mode = GPIO_MODE_OUTPUT_PP;
  GPIO_InitStruct.Pull = GPIO_NOPULL;
  GPIO_InitStruct.Speed = GPIO_SPEED_FREQ_LOW;
  HAL_GPIO_Init(GPIOC, &GPIO_InitStruct);

  /*Configure GPIO pin : USB_PowerSwitchOn_Pin */
  GPIO_InitStruct.Pin = USB_PowerSwitchOn_Pin;
  GPIO_InitStruct.Mode = GPIO_MODE_OUTPUT_PP;
  GPIO_InitStruct.Pull = GPIO_NOPULL;
  GPIO_InitStruct.Speed = GPIO_SPEED_FREQ_LOW;
  HAL_GPIO_Init(USB_PowerSwitchOn_GPIO_Port, &GPIO_InitStruct);

  /*Configure GPIO pin : USB_OverCurrent_Pin */
  GPIO_InitStruct.Pin = USB_OverCurrent_Pin;
  GPIO_InitStruct.Mode = GPIO_MODE_INPUT;
  GPIO_InitStruct.Pull = GPIO_NOPULL;
  HAL_GPIO_Init(USB_OverCurrent_GPIO_Port, &GPIO_InitStruct);

  /*Configure GPIO pin : PC9 */
  GPIO_InitStruct.Pin = GPIO_PIN_9;
  GPIO_InitStruct.Mode = GPIO_MODE_AF_PP;
  GPIO_InitStruct.Pull = GPIO_NOPULL;
  GPIO_InitStruct.Speed = GPIO_SPEED_FREQ_LOW;
  GPIO_InitStruct.Alternate = GPIO_AF5_SPI1;
  HAL_GPIO_Init(GPIOC, &GPIO_InitStruct);

  /*Configure GPIO pins : LED_STATUS_Pin LED_ERR_Pin */
  GPIO_InitStruct.Pin = LED_STATUS_Pin|LED_ERR_Pin;
  GPIO_InitStruct.Mode = GPIO_MODE_OUTPUT_PP;
  GPIO_InitStruct.Pull = GPIO_NOPULL;
  GPIO_InitStruct.Speed = GPIO_SPEED_FREQ_LOW;
  HAL_GPIO_Init(GPIOD, &GPIO_InitStruct);

  /*Configure GPIO pin : LD2_Pin */
  GPIO_InitStruct.Pin = LD2_Pin;
  GPIO_InitStruct.Mode = GPIO_MODE_OUTPUT_PP;
  GPIO_InitStruct.Pull = GPIO_NOPULL;
  GPIO_InitStruct.Speed = GPIO_SPEED_FREQ_LOW;
  HAL_GPIO_Init(LD2_GPIO_Port, &GPIO_InitStruct);

}

/* USER CODE BEGIN 4 */

void HAL_UART_RxCpltCallback(UART_HandleTypeDef* huart) {
  if (huart == &huart3) {
    HAL_GPIO_WritePin(GPIOD, GPIO_PIN_1, 1);

    submit_raw_stream(raw_uart_buf);

    HAL_GPIO_WritePin(GPIOD, GPIO_PIN_1, 0);
  }
}

/* USER CODE END 4 */

void Error_Handler(void)
{
  __disable_irq();
  while (1)
  {
  }
}
